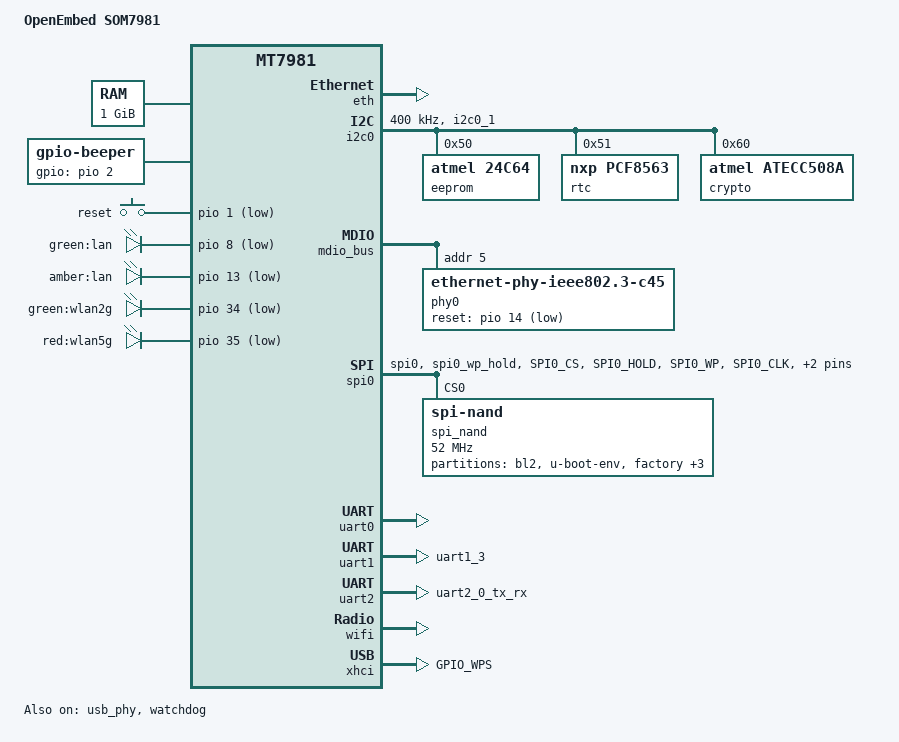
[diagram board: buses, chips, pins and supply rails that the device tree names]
// SPDX-License-Identifier: GPL-2.0-or-later OR MIT

/dts-v1/;

#include <dt-bindings/gpio/gpio.h>
#include <dt-bindings/input/input.h>
#include <dt-bindings/leds/common.h>
#include "mt7981.dtsi"

/ {
	model = "OpenEmbed SOM7981";
	compatible = "openembed,som7981", "mediatek,mt7981";

	aliases {
		led-boot = &wlan5g_led;
		led-failsafe = &wlan5g_led;
		led-upgrade = &wlan5g_led;
		serial0 = &uart0;
	};

	chosen {
		stdout-path = "serial0:115200n8";
	};

	memory@40000000 {
		reg = <0 0x40000000 0 0x40000000>;
	};

	beeper {
		compatible = "gpio-beeper";
		gpios = <&pio 2 GPIO_ACTIVE_HIGH>;
	};

	gpio-keys {
		compatible = "gpio-keys";

		button-reset {
			label = "reset";
			linux,code = <KEY_RESTART>;
			gpios = <&pio 1 GPIO_ACTIVE_LOW>;
		};
	};

	gpio-leds {
		compatible = "gpio-leds";

		led-0 {
			label = "green:lan";
			gpios = <&pio 8 GPIO_ACTIVE_LOW>;
		};

		led-1 {
			label = "amber:lan";
			gpios = <&pio 13 GPIO_ACTIVE_LOW>;
		};

		led-2 {
			label = "green:wlan2g";
			gpios = <&pio 34 GPIO_ACTIVE_LOW>;
		};

		wlan5g_led: led-3 {
			label = "red:wlan5g";
			gpios = <&pio 35 GPIO_ACTIVE_LOW>;
		};
	};
};

&eth {
	pinctrl-names = "default";
	pinctrl-0 = <&mdio_pins>;
	status = "okay";

	gmac0: mac@0 {
		compatible = "mediatek,eth-mac";
		reg = <0>;
		phy-mode = "2500base-x";
		phy-handle = <&phy0>;
		nvmem-cells = <&macaddr_factory_a 0>;
		nvmem-cell-names = "mac-address";
	};

	gmac1: mac@1 {
		compatible = "mediatek,eth-mac";
		reg = <1>;
		phy-mode = "gmii";
		phy-handle = <&int_gbe_phy>;
		nvmem-cells = <&macaddr_factory_a 1>;
		nvmem-cell-names = "mac-address";
	};
};

&i2c0 {
	clock-frequency = <400000>;
	pinctrl-names = "default";
	pinctrl-0 = <&i2c0_pins>;
	status = "okay";

	eeprom@50 {
		compatible = "atmel,24c64";
		reg = <0x50>;
		page-size = <32>;
	};

	rtc@51 {
		compatible = "nxp,pcf8563";
		reg = <0x51>;
		#clock-cells = <0>;
	};

	crypto@60 {
		compatible = "atmel,atecc508a";
		reg = <0x60>;
	};
};

&mdio_bus {
	phy0: ethernet-phy@5 {
		reg = <5>;
		compatible = "ethernet-phy-ieee802.3-c45";
		phy-mode = "2500base-x";
		reset-gpios = <&pio 14 GPIO_ACTIVE_LOW>;
		reset-assert-us = <15000>;
		reset-deassert-us = <68000>;
		realtek,aldps-enable;
		realtek,led-link-select = <0x0 0xa7 0xa7>;
		realtek,led-act-select = <0x2614>;
		realtek,led-polarity-select = <0x63>;
	};
};

&spi0 {
	pinctrl-names = "default";
	pinctrl-0 = <&spi0_flash_pins>;
	status = "okay";

	spi_nand: flash@0 {
		compatible = "spi-nand";
		#address-cells = <1>;
		#size-cells = <1>;
		reg = <0>;

		spi-max-frequency = <52000000>;
		spi-tx-bus-width = <4>;
		spi-rx-bus-width = <4>;

		partitions {
			compatible = "fixed-partitions";
			#address-cells = <1>;
			#size-cells = <1>;

			partition@0 {
				label = "bl2";
				reg = <0x000000 0x100000>;
				read-only;
			};

			partition@100000 {
				label = "u-boot-env";
				reg = <0x100000 0x80000>;
			};

			partition@180000 {
				label = "factory";
				reg = <0x180000 0x100000>;
				read-only;

				nvmem-layout {
					compatible = "fixed-layout";
					#address-cells = <1>;
					#size-cells = <1>;

					eeprom_factory_0: eeprom@0 {
						reg = <0x0 0x1000>;
					};

					macaddr_factory_a: macaddr@a {
						compatible = "mac-base";
						reg = <0xa 0x6>;
						#nvmem-cell-cells = <1>;
					};
				};
			};

			partition@280000 {
				label = "config";
				reg = <0x280000 0x100000>;
				read-only;
			};

			partition@380000 {
				label = "fip";
				reg = <0x380000 0x200000>;
				read-only;
			};

			partition@580000 {
				label = "ubi";
				reg = <0x580000 0xf880000>;
			};
		};
	};
};

&pio {
	i2c0_pins: i2c0-pins {
		mux {
			function = "i2c";
			groups = "i2c0_1";
		};
	};

	spi0_flash_pins: spi0-pins {
		mux {
			function = "spi";
			groups = "spi0", "spi0_wp_hold";
		};

		conf-pu {
			pins = "SPI0_CS", "SPI0_HOLD", "SPI0_WP";
			drive-strength = <8>;
			mediatek,pull-up-adv = <0>;
		};

		conf-pd {
			pins = "SPI0_CLK", "SPI0_MOSI", "SPI0_MISO";
			drive-strength = <8>;
			mediatek,pull-down-adv = <0>;
		};
	};

	uart1_pins: uart1-pins {
		mux {
			function = "uart";
			groups = "uart1_3";
		};
	};

	uart2_pins: uart2-pins {
		mux {
			function = "uart";
			groups = "uart2_0_tx_rx";
		};
	};

	wwan_rst_h: wwan-rst-h {
		pins = "GPIO_WPS";
		drive-strength = <8>;
		mediatek,pull-down-adv = <0>;
		output-low;
	};
};

&uart0 {
	status = "okay";
};

&uart1 {
	pinctrl-names = "default";
	pinctrl-0 = <&uart1_pins>;
	status = "okay";
};

&uart2 {
	pinctrl-names = "default";
	pinctrl-0 = <&uart2_pins>;
	status = "okay";
};

&usb_phy {
	status = "okay";
};

&watchdog {
	status = "okay";
};

&wifi {
	nvmem-cells = <&eeprom_factory_0>;
	nvmem-cell-names = "eeprom";
	status = "okay";
};

&xhci {
	pinctrl-names = "default";
	pinctrl-0 = <&wwan_rst_h>;
	status = "okay";
};
